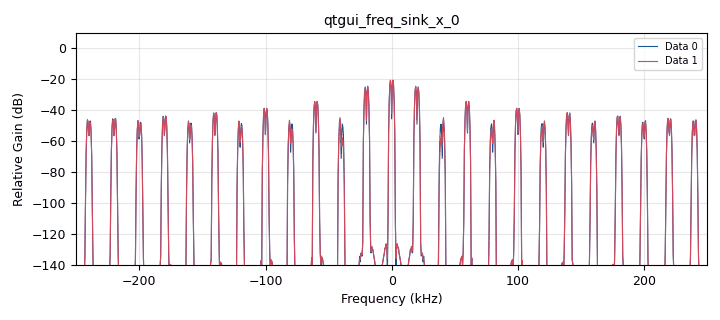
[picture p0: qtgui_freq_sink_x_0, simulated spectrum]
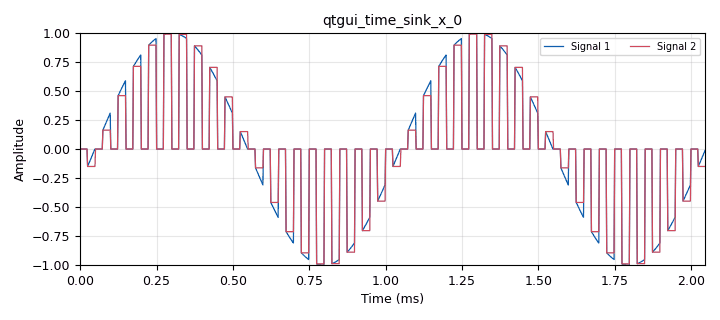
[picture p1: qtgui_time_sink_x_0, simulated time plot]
options:
  parameters:
    generate_options: qt_gui
    id: lab1_entregable
    output_language: python
    title: Not titled yet
  states: {}

blocks:
- name: A
  id: variable
  parameters:
    value: '1'
  states: {}
- name: f_signal
  id: variable
  parameters:
    value: '1000'
  states: {}
- name: f_square
  id: variable
  parameters:
    value: '20000'
  states: {}
- name: samp_rate
  id: variable
  parameters:
    value: '500000'
  states: {}
- name: analog_sig_source_x_0
  id: analog_sig_source_x
  parameters:
    amp: A
    freq: f_signal
    offset: '0'
    phase: '0'
    samp_rate: samp_rate
    type: float
    waveform: analog.GR_SIN_WAVE
  states: {}
- name: analog_sig_source_x_0_0
  id: analog_sig_source_x
  parameters:
    amp: A
    freq: f_square
    offset: '0'
    phase: '0'
    samp_rate: samp_rate
    type: float
    waveform: analog.GR_SQR_WAVE
  states: {}
- name: blocks_multiply_xx_0
  id: blocks_multiply_xx
  parameters:
    type: float
  states: {}
- name: epy_block_0
  id: epy_block
  parameters:
    _source_code: |
      import numpy as np
      from gnuradio import gr

      class blk(gr.sync_block):
          def __init__(self):
              gr.sync_block.__init__(
                  self,
                  name='Muestreo Instantaneo Plano',
                  in_sig=[np.float32, np.float32],
                  out_sig=[np.float32]
              )

          def work(self, input_items, output_items):
              in_data = input_items[0]
              in_ctrl = input_items[1]
              out = output_items[0]

              for i in range(len(out)):
                          is_high = in_ctrl[i] > 0

                          if is_high and not self.was_high:
                              self.held_value = in_data[i]

                          if is_high:
                              out[i] = self.held_value
                              
                          else:
                              out[i] = 0.0

                          self.was_high = is_high

              return len(out)
  states: {}
- name: qtgui_freq_sink_x_0
  id: qtgui_freq_sink_x
  parameters:
    bw: samp_rate
    fc: '0'
    fftsize: '1024'
    nconnections: '2'
    type: float
  states: {}
- name: qtgui_time_sink_x_0
  id: qtgui_time_sink_x
  parameters:
    nconnections: '2'
    size: '1024'
    srate: samp_rate
    type: float
  states: {}

connections:
- [analog_sig_source_x_0, '0', blocks_multiply_xx_0, '0']
- [analog_sig_source_x_0, '0', epy_block_0, '0']
- [analog_sig_source_x_0_0, '0', blocks_multiply_xx_0, '1']
- [analog_sig_source_x_0_0, '0', epy_block_0, '1']
- [blocks_multiply_xx_0, '0', qtgui_freq_sink_x_0, '0']
- [blocks_multiply_xx_0, '0', qtgui_time_sink_x_0, '0']
- [epy_block_0, '0', qtgui_freq_sink_x_0, '1']
- [epy_block_0, '0', qtgui_time_sink_x_0, '1']

metadata:
  file_format: 1
  grc_version: 3.10.9.2
